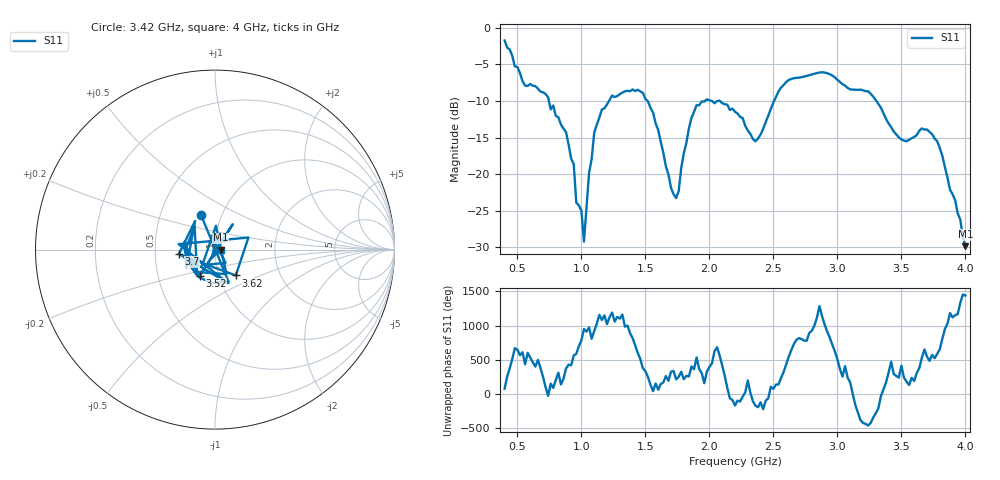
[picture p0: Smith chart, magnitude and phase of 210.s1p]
!Created with skrf (http://scikit-rf.org).
# Hz S RI R 50.0
!freq ReS11 ImS11
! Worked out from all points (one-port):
!   181 points, 400 MHz to 4 GHz, reference 50 ohm
!   lowest |S11| = -29.8 dB at 4 GHz (marker M1), VSWR 1.07, Z = 53.3 - j0.0508 ohm
!   |S11| at or under -10 dB: 746.1 MHz to 1.216 GHz (469.9 MHz wide, 47.9 % of centre); 1.517 GHz to 1.966 GHz (448.7 MHz wide, 25.8 % of centre); 3.305 GHz to end of sweep (the widest 3 of 5)
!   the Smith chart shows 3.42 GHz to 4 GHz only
!   S11 on the Smith chart (normalised r, x): 3.42 GHz: 0.80, +0.32; 3.52 GHz: 0.81, -0.24; 3.62 GHz: 1.20, -0.36; 3.7 GHz: 0.67, -0.03; 4 GHz: 1.07, -0.00
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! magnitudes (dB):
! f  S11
! 400 MHz  -1.7
! 560 MHz  -7.9
! 720 MHz  -9.1
! 860 MHz  -13.8
! 940 MHz  -18.6
! 960 MHz  -23.9
! 1 GHz  -25.0
! 1.02 GHz  -29.2
! 1.06 GHz  -19.8
! 1.1 GHz  -14.3
! 1.3 GHz  -9.1
! 1.48 GHz  -8.9
! 1.6 GHz  -14.0
! 1.7 GHz  -21.9
! 1.76 GHz  -22.3
! 1.9 GHz  -10.6
! 2.2 GHz  -11.5
! 2.36 GHz  -15.5
! 2.66 GHz  -6.9
! 3.1 GHz  -8.4
! 3.24 GHz  -8.7
! 3.42 GHz  -13.6
! 3.52 GHz  -15.4
! 3.56 GHz  -15.3
! 3.62 GHz  -14.7
! 3.7 GHz  -13.9
! 3.8 GHz  -16.4
! 4 GHz  -29.8
